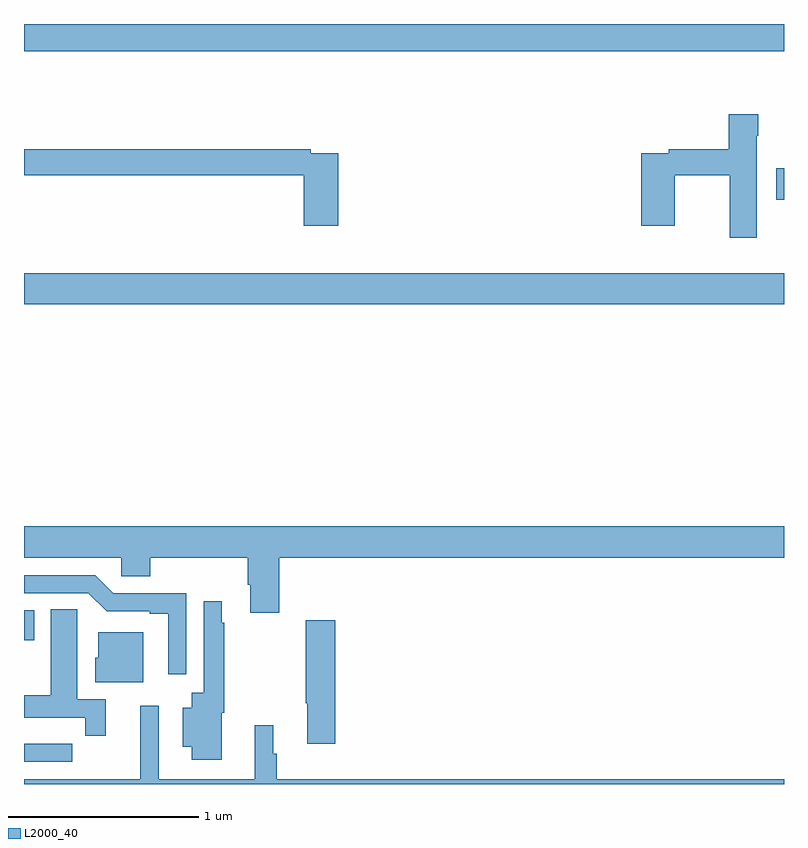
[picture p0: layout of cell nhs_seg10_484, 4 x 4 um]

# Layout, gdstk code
import gdstk
lib = gdstk.Library(unit=1e-6, precision=1e-09)
def R(c, l, rs):  # rectangles x0, y0, x1, y1
    for r in rs: c.add(gdstk.rectangle(r[:2], r[2:], *l))
def P(c, l, *ps):  # polygons
    for p in ps: c.add(gdstk.Polygon(p, *l))
L2000_40 = (2000, 40)

nhs_seg10_484 = lib.new_cell('nhs_seg10_484')
R(nhs_seg10_484, L2000_40, [(135,1257.256,135.055,1257.415), (135,1259.024,139,1259.188), (138.96,1259.576,139,1259.742), (135,1260.356,139,1260.5)])
P(nhs_seg10_484, L2000_40, [(138.856,1259.912),(138.864,1259.912),(138.864,1260.025),(138.71,1260.025),(138.71,1259.84),(138.394,1259.84),(138.394,1259.82),(138.248,1259.82),(138.248,1259.439),(138.426,1259.439),(138.426,1259.704),(138.715,1259.704),(138.715,1259.376),(138.856,1259.376)],
  [(136.655,1259.82),(136.508,1259.82),(136.508,1259.84),(135,1259.84),(135,1259.704),(136.472,1259.704),(136.472,1259.439),(136.655,1259.439)],
  [(136.343,1257.692),(139,1257.692),(139,1257.856),(135,1257.856),(135,1257.692),(135.513,1257.692),(135.513,1257.594),(135.665,1257.594),(135.665,1257.692),(136.178,1257.692),(136.178,1257.55),(136.19,1257.55),(136.19,1257.402),(136.343,1257.402)],
  [(135.855,1257.504),(135.471,1257.504),(135.375,1257.6),(135,1257.6),(135,1257.504),(135.339,1257.504),(135.435,1257.408),(135.662,1257.408),(135.662,1257.396),(135.758,1257.396),(135.758,1257.078),(135.855,1257.078)],
  [(136.042,1256.876),(136.054,1256.876),(136.054,1257.35),(136.042,1257.35),(136.042,1257.463),(135.945,1257.463),(135.945,1256.98),(135.884,1256.98),(135.884,1256.902),(135.836,1256.902),(135.836,1256.696),(135.884,1256.696),(135.884,1256.628),(136.042,1256.628)],
  [(135.431,1256.946),(135.28,1256.946),(135.28,1257.308),(135.279,1257.308),(135.279,1257.419),(135.14,1257.419),(135.14,1256.967),(135,1256.967),(135,1256.85),(135.322,1256.85),(135.322,1256.754),(135.431,1256.754)],
  [(136.637,1257.361),(136.483,1257.361),(136.483,1256.924),(136.49,1256.924),(136.49,1256.712),(136.637,1256.712)],
  [(135.628,1257.298),(135.392,1257.298),(135.392,1257.165),(135.374,1257.165),(135.374,1257.035),(135.628,1257.035)],
  [(139,1256.524),(136.331,1256.524),(136.331,1256.658),(136.312,1256.658),(136.312,1256.809),(136.214,1256.809),(136.214,1256.524),(135.708,1256.524),(135.708,1256.911),(135.611,1256.911),(135.611,1256.524),(135,1256.524),(135,1256.5),(139,1256.5)],
  [(135.253,1256.712),(135.14,1256.712),(135.14,1256.713),(135,1256.713),(135,1256.616),(135.253,1256.616)])

lib.write_gds('nhs_seg10_484.gds')
